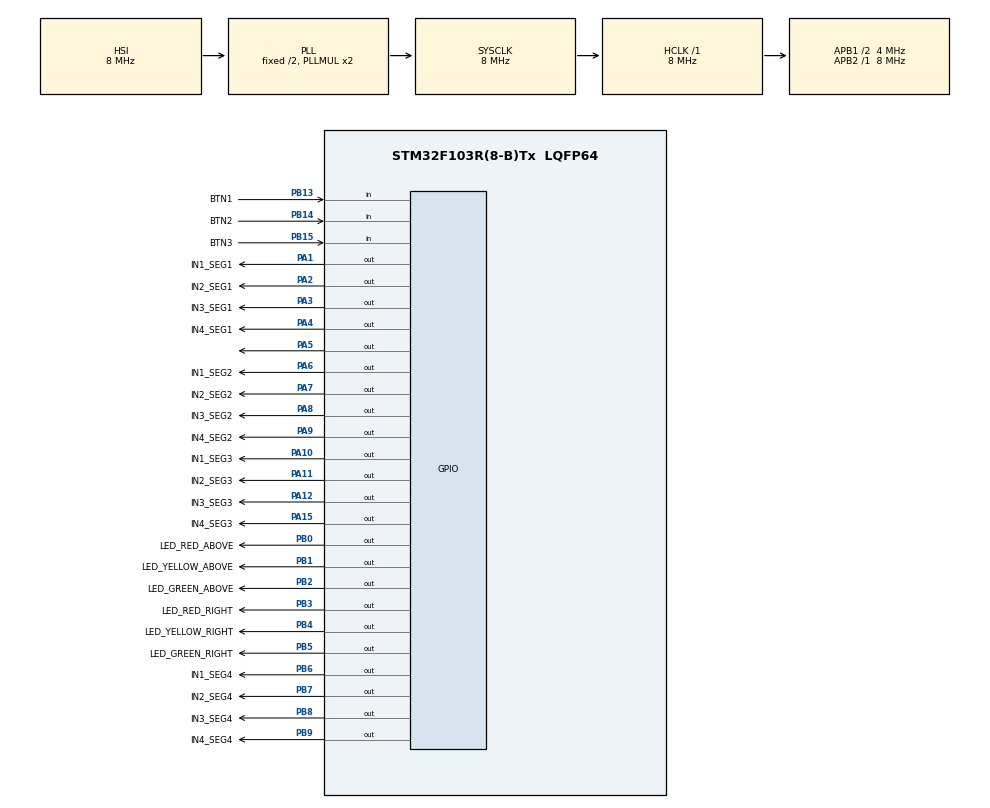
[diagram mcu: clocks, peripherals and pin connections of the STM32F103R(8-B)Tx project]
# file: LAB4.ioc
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Mcu.Family=STM32F1
Mcu.Name=STM32F103R(8-B)Tx
Mcu.Package=LQFP64
NVIC.PriorityGroup=NVIC_PRIORITYGROUP_4
NVIC.TIM2_IRQn=true\:1\:0\:true\:false\:true\:true\:true\:true
PA1.GPIO_Label=IN1_SEG1
PA1.Signal=GPIO_Output
PA10.GPIO_Label=IN1_SEG3
PA10.Signal=GPIO_Output
PA11.GPIO_Label=IN2_SEG3
PA11.Signal=GPIO_Output
PA12.GPIO_Label=IN3_SEG3
PA12.Signal=GPIO_Output
PA13.GPIO_Label=TMS
PA13.Mode=Serial_Wire
PA13.Signal=SYS_JTMS-SWDIO
PA14.GPIO_Label=TCK
PA14.Mode=Serial_Wire
PA14.Signal=SYS_JTCK-SWCLK
PA15.GPIO_Label=IN4_SEG3
PA15.Signal=GPIO_Output
PA2.GPIO_Label=IN2_SEG1
PA2.Signal=GPIO_Output
PA3.GPIO_Label=IN3_SEG1
PA3.Signal=GPIO_Output
PA4.GPIO_Label=IN4_SEG1
PA4.Signal=GPIO_Output
PA5.Signal=GPIO_Output
PA6.GPIO_Label=IN1_SEG2
PA6.Signal=GPIO_Output
PA7.GPIO_Label=IN2_SEG2
PA7.Signal=GPIO_Output
PA8.GPIO_Label=IN3_SEG2
PA8.Signal=GPIO_Output
PA9.GPIO_Label=IN4_SEG2
PA9.Signal=GPIO_Output
PB0.GPIO_Label=LED_RED_ABOVE
PB0.Signal=GPIO_Output
PB1.GPIO_Label=LED_YELLOW_ABOVE
PB1.Signal=GPIO_Output
PB13.GPIO_Label=BTN1
PB13.GPIO_PuPd=GPIO_PULLUP
PB13.Signal=GPIO_Input
PB14.GPIO_Label=BTN2
PB14.GPIO_PuPd=GPIO_PULLUP
PB14.Signal=GPIO_Input
PB15.GPIO_Label=BTN3
PB15.GPIO_PuPd=GPIO_PULLUP
PB15.Signal=GPIO_Input
PB2.GPIO_Label=LED_GREEN_ABOVE
PB2.Signal=GPIO_Output
PB3.GPIO_Label=LED_RED_RIGHT
PB3.Signal=GPIO_Output
PB4.GPIO_Label=LED_YELLOW_RIGHT
PB4.Signal=GPIO_Output
PB5.GPIO_Label=LED_GREEN_RIGHT
PB5.Signal=GPIO_Output
PB6.GPIO_Label=IN1_SEG4
PB6.Signal=GPIO_Output
PB7.GPIO_Label=IN2_SEG4
PB7.Signal=GPIO_Output
PB8.GPIO_Label=IN3_SEG4
PB8.Signal=GPIO_Output
PB9.GPIO_Label=IN4_SEG4
PB9.Signal=GPIO_Output
PC14-OSC32_IN.Mode=LSE-External-Oscillator
PC14-OSC32_IN.Signal=RCC_OSC32_IN
PC15-OSC32_OUT.Mode=LSE-External-Oscillator
PC15-OSC32_OUT.Signal=RCC_OSC32_OUT
PD0-OSC_IN.Mode=HSE-External-Clock-Source
PD0-OSC_IN.Signal=RCC_OSC_IN
PD1-OSC_OUT.Mode=HSE-External-Clock-Source
PD1-OSC_OUT.Signal=RCC_OSC_OUT
ProjectManager.HeapSize=0x200
ProjectManager.StackSize=0x400
ProjectManager.TargetToolchain=STM32CubeIDE
RCC.AHBFreq_Value=8000000
RCC.APB1CLKDivider=RCC_HCLK_DIV2
RCC.APB1Freq_Value=4000000
RCC.APB1TimFreq_Value=8000000
RCC.APB2Freq_Value=8000000
RCC.APB2TimFreq_Value=8000000
RCC.HCLKFreq_Value=8000000
RCC.RTCClockSelection=RCC_RTCCLKSOURCE_LSE
RCC.SYSCLKFreq_VALUE=8000000
RCC.SYSCLKSource=RCC_SYSCLKSOURCE_PLLCLK
RCC.USBFreq_Value=8000000
TIM2.Period=9
TIM2.Prescaler=7999
VP_TIM2_VS_ClockSourceINT.Mode=Internal
board=NUCLEO-F103RB

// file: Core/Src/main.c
/* USER CODE BEGIN Header */
/**
  ******************************************************************************
  * @file           : main.c
  * @brief          : Main program body
  ******************************************************************************
  * @attention
  *
  * Copyright (c) 2024 STMicroelectronics.
  * All rights reserved.
  *
  * This software is licensed under terms that can be found in the LICENSE file
  * in the root directory of this software component.
  * If no LICENSE file comes with this software, it is provided AS-IS.
  *
  ******************************************************************************
  */
/* USER CODE END Header */
#include "main.h"

/* USER CODE BEGIN Includes */
#include "timer.h"
#include "button.h"
#include "display.h"
#include "input_processing.h"
#include "traffic_jam.h"
#include "scheduler.h"
#include "global.h"
/* USER CODE END Includes */

TIM_HandleTypeDef htim2;

void SystemClock_Config(void);
static void MX_GPIO_Init(void);
static void MX_TIM2_Init(void);

/* USER CODE BEGIN 0 */
void HAL_TIM_PeriodElapsedCallback(TIM_HandleTypeDef *htim) {
	getKeyInput();
	SCH_Update();
}

void blinkLed() {
	HAL_GPIO_TogglePin(GPIOA, GPIO_PIN_5);
}

/* USER CODE END 0 */

int main(void)
{

  /* MCU Configuration--------------------------------------------------------*/

  /* Reset of all peripherals, Initializes the Flash interface and the Systick. */
  HAL_Init();

  /* Configure the system clock */
  SystemClock_Config();

  /* Initialize all configured peripherals */
  MX_GPIO_Init();
  MX_TIM2_Init();
  /* USER CODE BEGIN 2 */
	HAL_TIM_Base_Start_IT(&htim2);
	InitThreeButton();
	setTimeForTraffic(&time, 13, 3, 10);
	InitCount();
	SCH_Add_Task(getKeyInput, 0, 1);
	SCH_Add_Task(blinkLed, 0, 100);
	SCH_Add_Task(fsm_automatic, 0, 100);
	SCH_Add_Task(fsm_setting, 0, 1);
	SCH_Add_Task(fsm_manual, 0, 1);
  /* USER CODE END 2 */

  /* Infinite loop */
  while (1)
  {

    /* USER CODE BEGIN 3 */
		SCH_Dispatch_Task();
  }
  /* USER CODE END 3 */
}

void SystemClock_Config(void)
{
  RCC_OscInitTypeDef RCC_OscInitStruct = {0};
  RCC_ClkInitTypeDef RCC_ClkInitStruct = {0};

  /** Initializes the RCC Oscillators according to the specified parameters
  * in the RCC_OscInitTypeDef structure.
  */
  RCC_OscInitStruct.OscillatorType = RCC_OSCILLATORTYPE_HSI;
  RCC_OscInitStruct.HSIState = RCC_HSI_ON;
  RCC_OscInitStruct.HSICalibrationValue = RCC_HSICALIBRATION_DEFAULT;
  RCC_OscInitStruct.PLL.PLLState = RCC_PLL_ON;
  RCC_OscInitStruct.PLL.PLLSource = RCC_PLLSOURCE_HSI_DIV2;
  RCC_OscInitStruct.PLL.PLLMUL = RCC_PLL_MUL2;
  if (HAL_RCC_OscConfig(&RCC_OscInitStruct) != HAL_OK)
  {
    Error_Handler();
  }

  /** Initializes the CPU, AHB and APB buses clocks
  */
  RCC_ClkInitStruct.ClockType = RCC_CLOCKTYPE_HCLK|RCC_CLOCKTYPE_SYSCLK
                              |RCC_CLOCKTYPE_PCLK1|RCC_CLOCKTYPE_PCLK2;
  RCC_ClkInitStruct.SYSCLKSource = RCC_SYSCLKSOURCE_PLLCLK;
  RCC_ClkInitStruct.AHBCLKDivider = RCC_SYSCLK_DIV1;
  RCC_ClkInitStruct.APB1CLKDivider = RCC_HCLK_DIV2;
  RCC_ClkInitStruct.APB2CLKDivider = RCC_HCLK_DIV1;

  if (HAL_RCC_ClockConfig(&RCC_ClkInitStruct, FLASH_LATENCY_0) != HAL_OK)
  {
    Error_Handler();
  }
}

static void MX_TIM2_Init(void)
{

  TIM_ClockConfigTypeDef sClockSourceConfig = {0};
  TIM_MasterConfigTypeDef sMasterConfig = {0};

  htim2.Instance = TIM2;
  htim2.Init.Prescaler = 7999;
  htim2.Init.CounterMode = TIM_COUNTERMODE_UP;
  htim2.Init.Period = 9;
  htim2.Init.ClockDivision = TIM_CLOCKDIVISION_DIV1;
  htim2.Init.AutoReloadPreload = TIM_AUTORELOAD_PRELOAD_DISABLE;
  if (HAL_TIM_Base_Init(&htim2) != HAL_OK)
  {
    Error_Handler();
  }
  sClockSourceConfig.ClockSource = TIM_CLOCKSOURCE_INTERNAL;
  if (HAL_TIM_ConfigClockSource(&htim2, &sClockSourceConfig) != HAL_OK)
  {
    Error_Handler();
  }
  sMasterConfig.MasterOutputTrigger = TIM_TRGO_RESET;
  sMasterConfig.MasterSlaveMode = TIM_MASTERSLAVEMODE_DISABLE;
  if (HAL_TIMEx_MasterConfigSynchronization(&htim2, &sMasterConfig) != HAL_OK)
  {
    Error_Handler();
  }

}

static void MX_GPIO_Init(void)
{
  GPIO_InitTypeDef GPIO_InitStruct = {0};

  /* GPIO Ports Clock Enable */
  __HAL_RCC_GPIOC_CLK_ENABLE();
  __HAL_RCC_GPIOD_CLK_ENABLE();
  __HAL_RCC_GPIOA_CLK_ENABLE();
  __HAL_RCC_GPIOB_CLK_ENABLE();

  /*Configure GPIO pin Output Level */
  HAL_GPIO_WritePin(GPIOA, IN1_SEG1_Pin|IN2_SEG1_Pin|IN3_SEG1_Pin|IN4_SEG1_Pin
                          |GPIO_PIN_5|IN1_SEG2_Pin|IN2_SEG2_Pin|IN3_SEG2_Pin
                          |IN4_SEG2_Pin|IN1_SEG3_Pin|IN2_SEG3_Pin|IN3_SEG3_Pin
                          |IN4_SEG3_Pin, GPIO_PIN_RESET);

  /*Configure GPIO pin Output Level */
  HAL_GPIO_WritePin(GPIOB, LED_RED_ABOVE_Pin|LED_YELLOW_ABOVE_Pin|LED_GREEN_ABOVE_Pin|LED_RED_RIGHT_Pin
                          |LED_YELLOW_RIGHT_Pin|LED_GREEN_RIGHT_Pin|IN1_SEG4_Pin|IN2_SEG4_Pin
                          |IN3_SEG4_Pin|IN4_SEG4_Pin, GPIO_PIN_RESET);

  /*Configure GPIO pins : IN1_SEG1_Pin IN2_SEG1_Pin IN3_SEG1_Pin IN4_SEG1_Pin
                           PA5 IN1_SEG2_Pin IN2_SEG2_Pin IN3_SEG2_Pin
                           IN4_SEG2_Pin IN1_SEG3_Pin IN2_SEG3_Pin IN3_SEG3_Pin
                           IN4_SEG3_Pin */
  GPIO_InitStruct.Pin = IN1_SEG1_Pin|IN2_SEG1_Pin|IN3_SEG1_Pin|IN4_SEG1_Pin
                          |GPIO_PIN_5|IN1_SEG2_Pin|IN2_SEG2_Pin|IN3_SEG2_Pin
                          |IN4_SEG2_Pin|IN1_SEG3_Pin|IN2_SEG3_Pin|IN3_SEG3_Pin
                          |IN4_SEG3_Pin;
  GPIO_InitStruct.Mode = GPIO_MODE_OUTPUT_PP;
  GPIO_InitStruct.Pull = GPIO_NOPULL;
  GPIO_InitStruct.Speed = GPIO_SPEED_FREQ_LOW;
  HAL_GPIO_Init(GPIOA, &GPIO_InitStruct);

  /*Configure GPIO pins : LED_RED_ABOVE_Pin LED_YELLOW_ABOVE_Pin LED_GREEN_ABOVE_Pin LED_RED_RIGHT_Pin
                           LED_YELLOW_RIGHT_Pin LED_GREEN_RIGHT_Pin IN1_SEG4_Pin IN2_SEG4_Pin
                           IN3_SEG4_Pin IN4_SEG4_Pin */
  GPIO_InitStruct.Pin = LED_RED_ABOVE_Pin|LED_YELLOW_ABOVE_Pin|LED_GREEN_ABOVE_Pin|LED_RED_RIGHT_Pin
                          |LED_YELLOW_RIGHT_Pin|LED_GREEN_RIGHT_Pin|IN1_SEG4_Pin|IN2_SEG4_Pin
                          |IN3_SEG4_Pin|IN4_SEG4_Pin;
  GPIO_InitStruct.Mode = GPIO_MODE_OUTPUT_PP;
  GPIO_InitStruct.Pull = GPIO_NOPULL;
  GPIO_InitStruct.Speed = GPIO_SPEED_FREQ_LOW;
  HAL_GPIO_Init(GPIOB, &GPIO_InitStruct);

  /*Configure GPIO pins : BTN1_Pin BTN2_Pin BTN3_Pin */
  GPIO_InitStruct.Pin = BTN1_Pin|BTN2_Pin|BTN3_Pin;
  GPIO_InitStruct.Mode = GPIO_MODE_INPUT;
  GPIO_InitStruct.Pull = GPIO_PULLUP;
  HAL_GPIO_Init(GPIOB, &GPIO_InitStruct);

}

void Error_Handler(void)
{
  __disable_irq();
  while (1)
  {
  }
}
